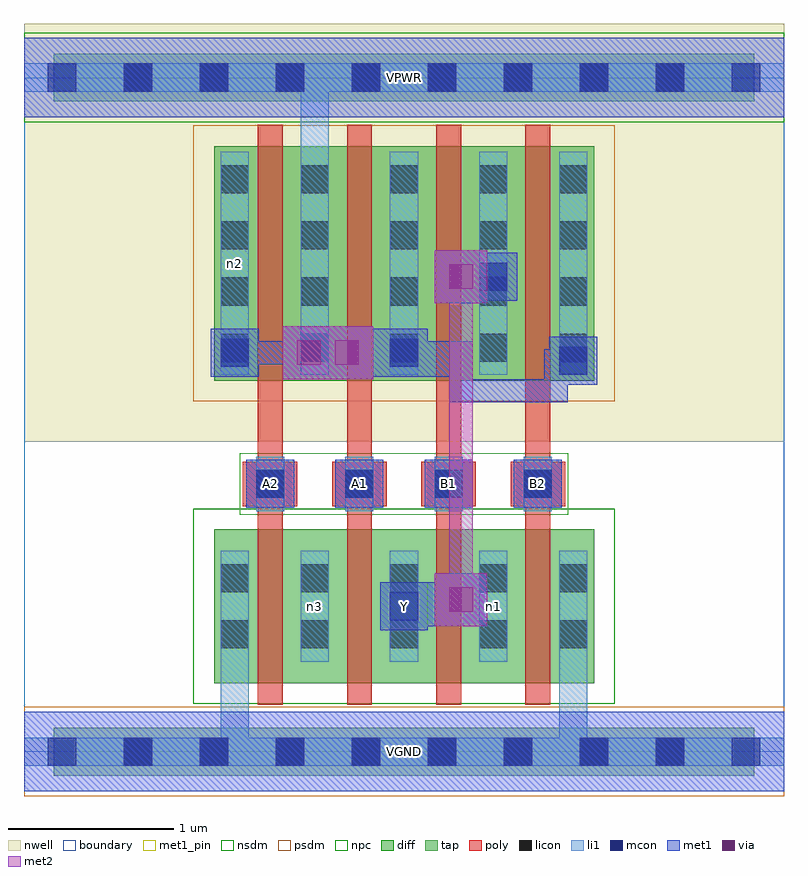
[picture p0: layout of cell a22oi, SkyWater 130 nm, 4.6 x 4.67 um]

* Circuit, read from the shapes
.subckt a22oi A1 A2 B1 B2 VGND VPWR Y n1 n2 n3
XM1 n3 A2 VGND VGND sky130_fd_pr__nfet_01v8 w=0.93 l=0.15
XM2 Y A1 n3 VGND sky130_fd_pr__nfet_01v8 w=0.93 l=0.15
XM3 n1 B1 Y VGND sky130_fd_pr__nfet_01v8 w=0.93 l=0.15
XM4 VGND B2 n1 VGND sky130_fd_pr__nfet_01v8 w=0.93 l=0.15
XM5 VPWR A2 n2 VPWR sky130_fd_pr__pfet_01v8 w=1.42 l=0.15
XM6 n2 A1 VPWR VPWR sky130_fd_pr__pfet_01v8 w=1.42 l=0.15
XM7 Y B1 n2 VPWR sky130_fd_pr__pfet_01v8 w=1.42 l=0.15
XM8 n2 B2 Y VPWR sky130_fd_pr__pfet_01v8 w=1.42 l=0.15
.ends

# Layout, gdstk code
import gdstk
lib = gdstk.Library(unit=1e-6, precision=1e-09)
def R(c, l, rs):  # rectangles x0, y0, x1, y1
    for r in rs: c.add(gdstk.rectangle(r[:2], r[2:], *l))
def A(c, l, x, y, w, h, nx, ny, dx, dy):  # array of equal rectangles
    R(c, l, [(x+i*dx, y+j*dy, x+i*dx+w, y+j*dy+h) for i in range(nx) for j in range(ny)])
nwell = (64, 20)
diff = (65, 20)
tap = (65, 44)
poly = (66, 20)
licon = (66, 44)
li1 = (67, 20)
mcon = (67, 44)
met1_pin = (68, 16)
met1 = (68, 20)
via = (68, 44)
met2 = (69, 20)
nsdm = (93, 44)
psdm = (94, 20)
npc = (95, 20)
boundary = (235, 4)

a22oi = lib.new_cell('a22oi')
R(a22oi, nwell, [(0,1.875,4.6,4.405)])
R(a22oi, diff, [(1.15,0.415,3.45,1.345), (1.15,2.245,3.45,3.665)])
R(a22oi, tap, [(0.18,-0.145,4.42,0.145), (0.18,3.935,4.42,4.225)])
A(a22oi, poly, 1.415, 0.285, 0.15, 3.51, 4, 1, 0.54, 0)
A(a22oi, poly, 1.325, 1.485, 0.33, 0.27, 4, 1, 0.54, 0)
A(a22oi, licon, 0.605, -0.085, 0.17, 0.17, 8, 2, 0.46, 4.08)
A(a22oi, licon, 1.675, 0.625, 0.17, 0.17, 3, 2, 0.54, 0.34)
A(a22oi, licon, 1.405, 1.535, 0.17, 0.17, 4, 1, 0.54, 0)
A(a22oi, licon, 1.19, 2.36, 0.17, 0.17, 1, 4, 0, 0.34)
A(a22oi, licon, 1.675, 2.36, 0.17, 0.17, 3, 4, 0.54, 0.34)
A(a22oi, licon, 3.24, 2.36, 0.17, 0.17, 1, 4, 0, 0.34)
R(a22oi, licon, [(1.19,0.625,1.36,0.795), (3.24,0.625,3.41,0.795), (1.19,0.965,1.36,1.135), (3.24,0.965,3.41,1.135)])
A(a22oi, li1, 1.675, 0.545, 0.17, 0.67, 3, 1, 0.54, 0)
A(a22oi, li1, 1.405, 1.455, 0.17, 0.33, 4, 1, 0.54, 0)
A(a22oi, li1, 1.675, 2.28, 0.17, 1.35, 3, 1, 0.54, 0)
R(a22oi, li1, [(0,-0.085,4.6,0.085), (1.19,-0.085,1.36,1.215), (3.24,-0.085,3.41,1.215), (1.19,0.545,1.36,1.215), (3.24,0.545,3.41,1.215), (1.19,2.28,1.36,3.63), (1.675,2.28,1.845,4.165), (3.24,2.28,3.41,3.63), (0,3.995,4.6,4.165)])
A(a22oi, mcon, 0.145, -0.085, 0.17, 0.17, 10, 2, 0.46, 4.08)
A(a22oi, mcon, 1.405, 1.535, 0.17, 0.17, 4, 1, 0.54, 0)
R(a22oi, mcon, [(2.215,0.795,2.385,0.965), (3.24,2.28,3.41,2.45), (1.19,2.33,1.36,2.5), (2.215,2.33,2.385,2.5), (2.755,2.79,2.925,2.96)])
A(a22oi, met1_pin, 1.345, 1.475, 0.29, 0.29, 4, 1, 0.54, 0)
R(a22oi, met1_pin, [(0,-0.24,4.6,0.24), (2.155,0.735,2.445,1.025), (0,3.84,4.6,4.32)])
A(a22oi, met1, 1.345, 1.475, 0.29, 0.29, 4, 1, 0.54, 0)
R(a22oi, met1, [(0,-0.24,4.6,0.24), (2.155,0.735,2.445,1.025), (2.445,0.76,2.485,1.025), (2.485,0.76,2.805,1.08), (2.23,0.85,2.715,0.99), (2.23,0.85,2.37,0.99), (2.575,2.115,2.715,2.485), (2.575,2.115,3.29,2.255), (3.15,2.115,3.29,2.435), (3.18,2.22,3.47,2.51), (1.565,2.255,1.885,2.575), (1.795,2.255,2.115,2.575), (1.13,2.27,1.42,2.56), (2.115,2.27,2.155,2.56), (2.155,2.27,2.445,2.56), (2.445,2.27,2.575,2.485), (3.15,2.295,3.395,2.435), (1.205,2.345,1.45,2.485), (1.31,2.345,1.795,2.485), (1.885,2.345,2.37,2.485), (2.23,2.345,2.715,2.485), (2.485,2.715,2.805,3.035), (2.695,2.73,2.985,3.02), (2.575,2.805,2.91,2.945), (0,3.84,4.6,4.32)])
R(a22oi, via, [(2.57,0.845,2.72,0.995), (1.65,2.34,1.8,2.49), (1.88,2.34,2.03,2.49), (2.57,2.8,2.72,2.95)])
R(a22oi, met2, [(2.485,0.76,2.805,1.08), (2.575,0.85,2.715,2.945), (1.565,2.255,1.885,2.575), (1.795,2.255,2.115,2.575), (1.655,2.345,2.025,2.485), (2.485,2.715,2.805,3.035)])
R(a22oi, nsdm, [(1.025,0.29,3.575,1.47), (0,3.81,4.6,4.35)])
R(a22oi, psdm, [(0,-0.27,4.6,0.27), (1.025,2.12,3.575,3.79)])
R(a22oi, npc, [(1.305,1.435,3.295,1.805)])
R(a22oi, boundary, [(0,0,4.6,4.08)])
a22oi.add(gdstk.Label('n3', (1.76,0.88), layer=67, texttype=5))
a22oi.add(gdstk.Label('n1', (2.84,0.88), layer=67, texttype=5))
a22oi.add(gdstk.Label('n2', (1.275,2.955), layer=67, texttype=5))
a22oi.add(gdstk.Label('A1', (2.03,1.62), layer=68, texttype=5))
a22oi.add(gdstk.Label('A2', (1.49,1.62), layer=68, texttype=5))
a22oi.add(gdstk.Label('B1', (2.57,1.62), layer=68, texttype=5))
a22oi.add(gdstk.Label('B2', (3.11,1.62), layer=68, texttype=5))
a22oi.add(gdstk.Label('Y', (2.3,0.88), layer=68, texttype=5))
a22oi.add(gdstk.Label('VPWR', (2.3,4.08), layer=68, texttype=5))
a22oi.add(gdstk.Label('VGND', (2.3,0), layer=68, texttype=5))
a22oi.add(gdstk.Label('A1', (2.03,1.62), layer=68, texttype=16))
a22oi.add(gdstk.Label('A2', (1.49,1.62), layer=68, texttype=16))
a22oi.add(gdstk.Label('B1', (2.57,1.62), layer=68, texttype=16))
a22oi.add(gdstk.Label('B2', (3.11,1.62), layer=68, texttype=16))
a22oi.add(gdstk.Label('Y', (2.3,0.88), layer=68, texttype=16))
a22oi.add(gdstk.Label('VPWR', (2.3,4.08), layer=68, texttype=16))
a22oi.add(gdstk.Label('VGND', (2.3,0), layer=68, texttype=16))

lib.write_gds('a22oi.gds')
